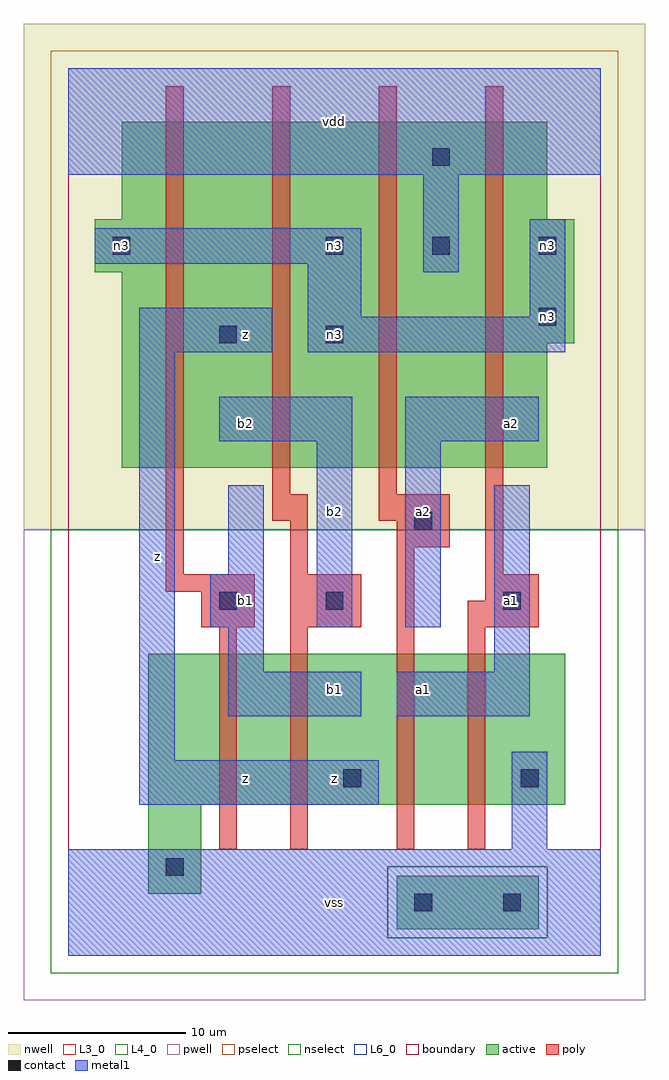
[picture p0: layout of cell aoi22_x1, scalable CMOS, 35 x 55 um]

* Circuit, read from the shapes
.subckt aoi22_x1 a1 a2 b1 b2 n3 vdd vss z
M1 n1 b1 vss vss nfet w=8.5u l=1u
M2 z b2 n1 vss nfet w=8.5u l=1u
M3 n2 a2 z vss nfet w=8.5u l=1u
M4 vss a1 n2 vss nfet w=8.5u l=1u
M5 z b1 n3 n4 pfet w=19.5u l=1u
M6 n3 b2 z n4 pfet w=19.5u l=1u
M7 vdd a2 n3 n4 pfet w=19.5u l=1u
M8 n3 a1 vdd n4 pfet w=19.5u l=1u
.ends

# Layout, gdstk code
import gdstk
lib = gdstk.Library(unit=1e-6, precision=1e-09)
def R(c, l, rs):  # rectangles x0, y0, x1, y1
    for r in rs: c.add(gdstk.rectangle(r[:2], r[2:], *l))
def A(c, l, x, y, w, h, nx, ny, dx, dy):  # array of equal rectangles
    R(c, l, [(x+i*dx, y+j*dy, x+i*dx+w, y+j*dy+h) for i in range(nx) for j in range(ny)])
L3_0 = (3, 0)
L4_0 = (4, 0)
L6_0 = (6, 0)
contact = (25, 0)
pwell = (41, 0)
nwell = (42, 0)
active = (43, 0)
pselect = (44, 0)
nselect = (45, 0)
poly = (46, 0)
metal1 = (49, 0)
boundary = (63, 0)

aoi22_x1 = lib.new_cell('aoi22_x1')
R(aoi22_x1, L3_0, [(4.5,3.5,7.5,8.5), (4.5,8.5,28,17)])
R(aoi22_x1, L4_0, [(3,27.5,27,34.5), (3,34.5,28.5,38.5), (1.5,38.5,28.5,41.5), (3,41.5,27,47)])
R(aoi22_x1, L6_0, [(18.5,1.5,26.5,4.5)])
A(aoi22_x1, contact, 14.5, 39.5, 1, 1, 3, 1, 6, 0)
R(aoi22_x1, contact, [(19.5,2.5,20.5,3.5), (24.5,2.5,25.5,3.5), (5.5,4.5,6.5,5.5), (15.5,9.5,16.5,10.5), (25.5,9.5,26.5,10.5), (8.5,19.5,9.5,20.5), (14.5,19.5,15.5,20.5), (24.5,19.5,25.5,20.5), (19.5,24,20.5,25), (8.5,34.5,9.5,35.5), (14.5,34.5,15.5,35.5), (26.5,35.5,27.5,36.5), (2.5,39.5,3.5,40.5), (20.5,44.5,21.5,45.5)])
R(aoi22_x1, pwell, [(-2.5,-2.5,32.5,24)])
R(aoi22_x1, nwell, [(-2.5,24,32.5,52.5)])
R(aoi22_x1, active, [(18.5,1.5,26.5,4.5), (4.5,3.5,7.5,8.5), (4.5,8.5,28,17), (3,27.5,27,34.5), (3,34.5,28.5,38.5), (1.5,38.5,28.5,41.5), (3,41.5,27,47)])
R(aoi22_x1, pselect, [(18,1,27,5), (-1,24,31,51)])
R(aoi22_x1, nselect, [(-1,-1,31,1), (-1,1,18,5), (27,1,31,5), (-1,5,31,24)])
R(aoi22_x1, poly, [(8.5,6,9.5,18.5), (12.5,6,13.5,18.5), (18.5,6,19.5,23), (22.5,6,23.5,18.5), (7.5,18.5,10.5,20.5), (12.5,18.5,16.5,21.5), (22.5,18.5,26.5,20), (23.5,20,26.5,21.5), (5.5,20.5,10.5,21.5), (5.5,21.5,6.5,49), (12.5,21.5,13.5,24.5), (23.5,21.5,24.5,49), (18.5,23,21.5,24.5), (11.5,24.5,13.5,26), (17.5,24.5,21.5,26), (11.5,26,12.5,49), (17.5,26,18.5,49)])
R(aoi22_x1, metal1, [(0,0,30,6), (0,0,30,6), (25,6,27,11.5), (25,6,27,11.5), (4,8.5,17.5,11), (4,8.5,17.5,11), (4,11,6,34), (4,11,6,34), (9,13.5,16.5,16), (9,13.5,16.5,16), (18.5,13.5,26,16), (18.5,13.5,26,16), (9,16,11,18.5), (9,16,11,18.5), (24,16,26,26.5), (24,16,26,26.5), (8,18.5,11,21.5), (8,18.5,11,21.5), (14,18.5,16,29), (14,18.5,16,29), (19,18.5,21,29), (19,18.5,21,29), (9,21.5,11,26.5), (9,21.5,11,26.5), (8.5,29,16,31.5), (8.5,29,16,31.5), (19,29,26.5,31.5), (19,29,26.5,31.5), (4,34,11.5,36.5), (4,34,11.5,36.5), (13.5,34,28,36), (13.5,34,28,36), (13.5,36,16.5,39), (13.5,36,16.5,39), (26,36,28,41.5), (26,36,28,41.5), (20,38.5,22,44), (20,38.5,22,44), (1.5,39,16.5,41), (1.5,39,16.5,41), (0,44,30,50), (0,44,30,50)])
R(aoi22_x1, boundary, [(0,0,30,50)])
aoi22_x1.add(gdstk.Label('n3', (3,40), layer=49, texttype=0))
aoi22_x1.add(gdstk.Label('n3', (15,40), layer=49, texttype=0))
aoi22_x1.add(gdstk.Label('n3', (15,35), layer=49, texttype=0))
aoi22_x1.add(gdstk.Label('n3', (27,36), layer=49, texttype=0))
aoi22_x1.add(gdstk.Label('n3', (27,40), layer=49, texttype=0))
aoi22_x1.add(gdstk.Label('z', (5,22.5), layer=49, texttype=0))
aoi22_x1.add(gdstk.Label('z', (10,10), layer=49, texttype=0))
aoi22_x1.add(gdstk.Label('b1', (10,20), layer=49, texttype=0))
aoi22_x1.add(gdstk.Label('z', (10,35), layer=49, texttype=0))
aoi22_x1.add(gdstk.Label('b2', (10,30), layer=49, texttype=0))
aoi22_x1.add(gdstk.Label('z', (15,10), layer=49, texttype=0))
aoi22_x1.add(gdstk.Label('vss', (15,3), layer=49, texttype=0))
aoi22_x1.add(gdstk.Label('b1', (15,15), layer=49, texttype=0))
aoi22_x1.add(gdstk.Label('a1', (20,15), layer=49, texttype=0))
aoi22_x1.add(gdstk.Label('a2', (20,25), layer=49, texttype=0))
aoi22_x1.add(gdstk.Label('b2', (15,25), layer=49, texttype=0))
aoi22_x1.add(gdstk.Label('vdd', (15,47), layer=49, texttype=0))
aoi22_x1.add(gdstk.Label('a1', (25,20), layer=49, texttype=0))
aoi22_x1.add(gdstk.Label('a2', (25,30), layer=49, texttype=0))

lib.write_gds('aoi22_x1.gds')
